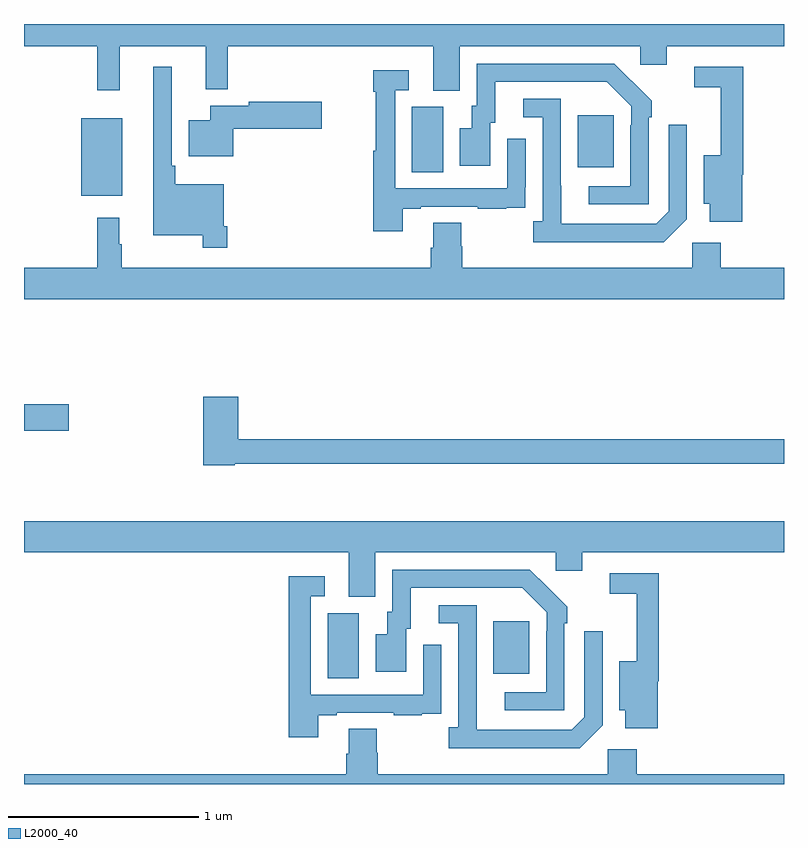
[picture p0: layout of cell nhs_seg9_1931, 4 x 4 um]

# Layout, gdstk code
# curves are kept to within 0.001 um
import gdstk
lib = gdstk.Library(unit=1e-6, precision=1e-09)
def R(c, l, rs):  # rectangles x0, y0, x1, y1
    for r in rs: c.add(gdstk.rectangle(r[:2], r[2:], *l))
def P(c, l, *ps):  # polygons
    for p in ps: c.add(gdstk.Polygon(p, *l))
L2000_40 = (2000, 40)

nhs_seg9_1931 = lib.new_cell('nhs_seg9_1931')
R(nhs_seg9_1931, L2000_40, [(220.598,1229.056,220.762,1229.4), (221.471,1229.081,221.659,1229.356), (219,1230.358,219.235,1230.5), (219.302,1231.595,219.517,1232.005), (221.042,1231.72,221.206,1232.064), (221.915,1231.745,222.103,1232.02)])
P(nhs_seg9_1931, L2000_40, [(221.293,1232.384),(222.243,1232.384),(222.243,1232.286),(222.382,1232.286),(222.382,1232.384),(223,1232.384),(223,1232.5),(219,1232.5),(219,1232.384),(219.385,1232.384),(219.385,1232.151),(219.503,1232.151),(219.503,1232.384),(219.956,1232.384),(219.956,1232.156),(220.073,1232.156),(220.073,1232.384),(221.153,1232.384),(221.153,1232.149),(221.293,1232.149)],
  [(222.288,1232.009),(222.303,1232.009),(222.303,1232.097),(222.106,1232.292),(221.382,1232.292),(221.382,1232.07),(221.357,1232.07),(221.357,1231.951),(221.294,1231.951),(221.294,1231.755),(221.455,1231.755),(221.455,1231.98),(221.479,1231.98),(221.479,1232.196),(222.067,1232.196),(222.195,1232.067),(222.195,1231.967),(222.192,1231.967),(222.192,1231.647),(221.973,1231.647),(221.973,1231.551),(222.288,1231.551)],
  [(220.07,1231.435),(220.05,1231.435),(220.05,1231.657),(219.797,1231.657),(219.797,1231.753),(219.777,1231.753),(219.777,1232.275),(219.68,1232.275),(219.68,1231.388),(219.942,1231.388),(219.942,1231.323),(220.07,1231.323)],
  [(222.779,1231.706),(222.785,1231.706),(222.785,1232.274),(222.528,1232.274),(222.528,1232.166),(222.668,1232.166),(222.668,1231.81),(222.578,1231.81),(222.578,1231.553),(222.608,1231.553),(222.608,1231.458),(222.779,1231.458)],
  [(220.993,1231.527),(221.089,1231.527),(221.089,1231.539),(221.389,1231.539),(221.389,1231.527),(221.537,1231.527),(221.537,1231.533),(221.639,1231.533),(221.639,1231.642),(221.64,1231.642),(221.64,1231.897),(221.544,1231.897),(221.544,1231.635),(220.953,1231.635),(220.953,1232.151),(221.026,1232.151),(221.026,1232.257),(220.837,1232.257),(220.837,1232.144),(220.852,1232.144),(220.852,1231.833),(220.837,1231.833),(220.837,1231.41),(220.993,1231.41)],
  [(222.489,1231.473),(222.489,1231.969),(222.393,1231.969),(222.393,1231.515),(222.327,1231.449),(221.827,1231.449),(221.826,1232.106),(221.628,1232.106),(221.628,1232.01),(221.73,1232.01),(221.73,1231.462),(221.679,1231.462),(221.679,1231.352),(222.368,1231.352)],
  [(220.102,1231.949),(220.567,1231.949),(220.567,1232.091),(220.182,1232.091),(220.182,1232.071),(219.98,1232.071),(219.98,1231.993),(219.866,1231.993),(219.866,1231.805),(220.102,1231.805)],
  [(223,1231.216),(222.668,1231.216),(222.668,1231.348),(222.516,1231.348),(222.516,1231.216),(221.306,1231.216),(221.306,1231.329),(221.301,1231.329),(221.301,1231.454),(221.153,1231.454),(221.153,1231.322),(221.141,1231.322),(221.141,1231.216),(219.514,1231.216),(219.514,1231.34),(219.502,1231.34),(219.502,1231.48),(219.385,1231.48),(219.385,1231.216),(219,1231.216),(219,1231.052),(223,1231.052)],
  [(220.11,1230.186),(223,1230.186),(223,1230.314),(220.127,1230.314),(220.127,1230.538),(219.944,1230.538),(219.944,1230.178),(220.11,1230.178)],
  [(220.849,1229.72),(221.799,1229.72),(221.799,1229.622),(221.938,1229.622),(221.938,1229.72),(223,1229.72),(223,1229.884),(219,1229.884),(219,1229.72),(220.709,1229.72),(220.709,1229.485),(220.849,1229.485)],
  [(221.844,1229.345),(221.859,1229.345),(221.859,1229.433),(221.662,1229.628),(220.938,1229.628),(220.938,1229.406),(220.913,1229.406),(220.913,1229.287),(220.85,1229.287),(220.85,1229.091),(221.011,1229.091),(221.011,1229.316),(221.035,1229.316),(221.035,1229.532),(221.623,1229.532),(221.751,1229.403),(221.751,1229.303),(221.748,1229.303),(221.748,1228.983),(221.529,1228.983),(221.529,1228.887),(221.844,1228.887)],
  [(222.335,1229.042),(222.341,1229.042),(222.341,1229.61),(222.084,1229.61),(222.084,1229.502),(222.224,1229.502),(222.224,1229.146),(222.134,1229.146),(222.134,1228.889),(222.164,1228.889),(222.164,1228.794),(222.335,1228.794)],
  [(220.549,1228.863),(220.645,1228.863),(220.645,1228.875),(220.945,1228.875),(220.945,1228.863),(221.093,1228.863),(221.093,1228.869),(221.195,1228.869),(221.195,1228.978),(221.196,1228.978),(221.196,1229.233),(221.1,1229.233),(221.1,1228.971),(220.509,1228.971),(220.509,1229.487),(220.582,1229.487),(220.582,1229.593),(220.393,1229.593),(220.393,1228.746),(220.549,1228.746)],
  [(222.045,1228.809),(222.045,1229.305),(221.949,1229.305),(221.949,1228.851),(221.883,1228.785),(221.383,1228.785),(221.382,1229.442),(221.184,1229.442),(221.184,1229.346),(221.286,1229.346),(221.286,1228.798),(221.235,1228.798),(221.235,1228.688),(221.924,1228.688)],
  [(223,1228.552),(222.224,1228.552),(222.224,1228.684),(222.072,1228.684),(222.072,1228.552),(220.862,1228.552),(220.862,1228.665),(220.857,1228.665),(220.857,1228.79),(220.709,1228.79),(220.709,1228.658),(220.697,1228.658),(220.697,1228.552),(219,1228.552),(219,1228.5),(223,1228.5)])

lib.write_gds('nhs_seg9_1931.gds')
